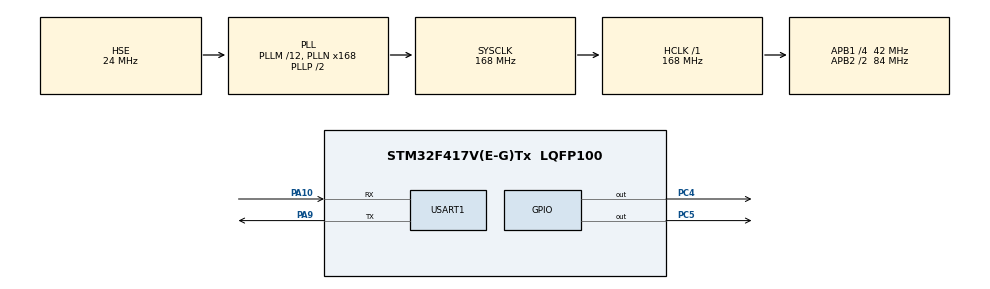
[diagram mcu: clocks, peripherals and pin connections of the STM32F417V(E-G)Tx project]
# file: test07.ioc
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FREERTOS.BinarySemaphores01=BinarySem,Dynamic,NULL
FREERTOS.CountingSemaphores01=CountingSem,5,Dynamic,NULL
FREERTOS.Tasks01=LEDTask,0,128,StartLEDTask,As weak,NULL,Dynamic,NULL,NULL;Receive,-3,128,ReceiveTask,Default,NULL,Dynamic,NULL,NULL;Send,-3,128,SendTask,Default,NULL,Dynamic,NULL,NULL
FREERTOS.configUSE_COUNTING_SEMAPHORES=1
FREERTOS.configUSE_NEWLIB_REENTRANT=1
Mcu.Family=STM32F4
Mcu.Name=STM32F417V(E-G)Tx
Mcu.Package=LQFP100
NVIC.PriorityGroup=NVIC_PRIORITYGROUP_4
NVIC.TIM1_UP_TIM10_IRQn=true\:15\:0\:false\:false\:true\:false\:false\:true\:true
NVIC.TimeBase=TIM1_UP_TIM10_IRQn
NVIC.TimeBaseIP=TIM1
NVIC.USART1_IRQn=true\:5\:0\:false\:false\:true\:true\:true\:true\:true
PA10.GPIO_ModeDefaultPP=GPIO_MODE_AF_PP
PA10.GPIO_PuPd=GPIO_PULLUP
PA10.GPIO_Speed=GPIO_SPEED_FREQ_HIGH
PA10.Mode=Asynchronous
PA10.Signal=USART1_RX
PA13.Mode=Trace_Synchro_2bits_JTAG
PA13.Signal=SYS_JTMS-SWDIO
PA14.Mode=Trace_Synchro_2bits_JTAG
PA14.Signal=SYS_JTCK-SWCLK
PA15.Mode=Trace_Synchro_2bits_JTAG
PA15.Signal=SYS_JTDI
PA9.GPIO_ModeDefaultPP=GPIO_MODE_AF_PP
PA9.GPIO_PuPd=GPIO_PULLUP
PA9.GPIO_Speed=GPIO_SPEED_FREQ_HIGH
PA9.Mode=Asynchronous
PA9.Signal=USART1_TX
PB3.Mode=Trace_Synchro_2bits_JTAG
PB3.Signal=SYS_JTDO-SWO
PC14-OSC32_IN.Mode=LSE-External-Oscillator
PC14-OSC32_IN.Signal=RCC_OSC32_IN
PC15-OSC32_OUT.Mode=LSE-External-Oscillator
PC15-OSC32_OUT.Signal=RCC_OSC32_OUT
PC4.GPIO_ModeDefaultOutputPP=GPIO_MODE_OUTPUT_PP
PC4.GPIO_PuPd=GPIO_PULLUP
PC4.GPIO_Speed=GPIO_SPEED_FREQ_HIGH
PC4.PinState=GPIO_PIN_SET
PC4.Signal=GPIO_Output
PC5.GPIO_ModeDefaultOutputPP=GPIO_MODE_OUTPUT_PP
PC5.GPIO_PuPd=GPIO_PULLUP
PC5.GPIO_Speed=GPIO_SPEED_FREQ_HIGH
PC5.PinState=GPIO_PIN_SET
PC5.Signal=GPIO_Output
PE2.Mode=Trace_Synchro_2bits_JTAG
PE2.Signal=SYS_TRACECLK
PE3.Mode=Trace_Synchro_2bits_JTAG
PE3.Signal=SYS_TRACED0
PE4.Mode=Trace_Synchro_2bits_JTAG
PE4.Signal=SYS_TRACED1
PH0-OSC_IN.Mode=HSE-External-Oscillator
PH0-OSC_IN.Signal=RCC_OSC_IN
PH1-OSC_OUT.Mode=HSE-External-Oscillator
PH1-OSC_OUT.Signal=RCC_OSC_OUT
ProjectManager.HeapSize=0x200
ProjectManager.StackSize=0x400
ProjectManager.TargetToolchain=STM32CubeIDE
RCC.48MHZClocksFreq_Value=84000000
RCC.AHBFreq_Value=168000000
RCC.APB1CLKDivider=RCC_HCLK_DIV4
RCC.APB1Freq_Value=42000000
RCC.APB1TimFreq_Value=84000000
RCC.APB2CLKDivider=RCC_HCLK_DIV2
RCC.APB2Freq_Value=84000000
RCC.APB2TimFreq_Value=168000000
RCC.CortexFreq_Value=168000000
RCC.HCLKFreq_Value=168000000
RCC.HSE_VALUE=24000000
RCC.HSI_VALUE=16000000
RCC.PLLM=12
RCC.PLLN=168
RCC.PLLSourceVirtual=RCC_PLLSOURCE_HSE
RCC.SYSCLKFreq_VALUE=168000000
RCC.SYSCLKSource=RCC_SYSCLKSOURCE_PLLCLK
RCC.VCOOutputFreq_Value=336000000
USART1.VirtualMode=VM_ASYNC
VP_FREERTOS_VS_CMSIS_V1.Mode=CMSIS_V1
VP_SYS_VS_tim1.Mode=TIM1
board=custom

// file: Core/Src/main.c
/* USER CODE BEGIN Header */
/**
  ******************************************************************************
  * @file           : main.c
  * @brief          : Main program body
  ******************************************************************************
  * @attention
  *
  * Copyright (c) 2022 STMicroelectronics.
  * All rights reserved.
  *
  * This software is licensed under terms that can be found in the LICENSE file
  * in the root directory of this software component.
  * If no LICENSE file comes with this software, it is provided AS-IS.
  *
  ******************************************************************************
  */
/* USER CODE END Header */
#include "main.h"
#include "cmsis_os.h"
#include "usart.h"
#include "gpio.h"

/* USER CODE BEGIN Includes */
#include "stdio.h"	//引用标准库文件
/* USER CODE END Includes */

void SystemClock_Config(void);
void MX_FREERTOS_Init(void);
/* USER CODE BEGIN PFP */
#ifdef __GNUC__
#define PUTCHAR_PROTOTYPE int __io_putchar(int ch)   //STM32CubeIDE
#else

#define PUTCHAR_PROTOTYPE int fputc(int ch, FILE *f)  //Keil

#endif
PUTCHAR_PROTOTYPE
{
	HAL_UART_Transmit(&huart1, (uint8_t*)&ch, 1, HAL_MAX_DELAY);
	return ch;
}

int _write(int file, char *ptr, int len)
{
	int DataIdx;

	for(DataIdx=0; DataIdx<len; DataIdx++)
	{
		__io_putchar(*ptr++);
	}

	return len;
}
/* USER CODE END PFP */

int main(void)
{

  /* MCU Configuration--------------------------------------------------------*/

  /* Reset of all peripherals, Initializes the Flash interface and the Systick. */
  HAL_Init();

  /* Configure the system clock */
  SystemClock_Config();

  /* Initialize all configured peripherals */
  MX_GPIO_Init();
  MX_USART1_UART_Init();

  /* Call init function for freertos objects (in freertos.c) */
  MX_FREERTOS_Init();

  /* Start scheduler */
  osKernelStart();

  /* We should never get here as control is now taken by the scheduler */
  /* Infinite loop */
  while (1)
  {

  }
}

void SystemClock_Config(void)
{
  RCC_OscInitTypeDef RCC_OscInitStruct = {0};
  RCC_ClkInitTypeDef RCC_ClkInitStruct = {0};

  /** Configure the main internal regulator output voltage
  */
  __HAL_RCC_PWR_CLK_ENABLE();
  __HAL_PWR_VOLTAGESCALING_CONFIG(PWR_REGULATOR_VOLTAGE_SCALE1);

  /** Initializes the RCC Oscillators according to the specified parameters
  * in the RCC_OscInitTypeDef structure.
  */
  RCC_OscInitStruct.OscillatorType = RCC_OSCILLATORTYPE_HSE;
  RCC_OscInitStruct.HSEState = RCC_HSE_ON;
  RCC_OscInitStruct.PLL.PLLState = RCC_PLL_ON;
  RCC_OscInitStruct.PLL.PLLSource = RCC_PLLSOURCE_HSE;
  RCC_OscInitStruct.PLL.PLLM = 12;
  RCC_OscInitStruct.PLL.PLLN = 168;
  RCC_OscInitStruct.PLL.PLLP = RCC_PLLP_DIV2;
  RCC_OscInitStruct.PLL.PLLQ = 4;
  if (HAL_RCC_OscConfig(&RCC_OscInitStruct) != HAL_OK)
  {
    Error_Handler();
  }

  /** Initializes the CPU, AHB and APB buses clocks
  */
  RCC_ClkInitStruct.ClockType = RCC_CLOCKTYPE_HCLK|RCC_CLOCKTYPE_SYSCLK
                              |RCC_CLOCKTYPE_PCLK1|RCC_CLOCKTYPE_PCLK2;
  RCC_ClkInitStruct.SYSCLKSource = RCC_SYSCLKSOURCE_PLLCLK;
  RCC_ClkInitStruct.AHBCLKDivider = RCC_SYSCLK_DIV1;
  RCC_ClkInitStruct.APB1CLKDivider = RCC_HCLK_DIV4;
  RCC_ClkInitStruct.APB2CLKDivider = RCC_HCLK_DIV2;

  if (HAL_RCC_ClockConfig(&RCC_ClkInitStruct, FLASH_LATENCY_5) != HAL_OK)
  {
    Error_Handler();
  }
}

void HAL_TIM_PeriodElapsedCallback(TIM_HandleTypeDef *htim)
{
  if (htim->Instance == TIM1) {
    HAL_IncTick();
  }
}

void Error_Handler(void)
{
  __disable_irq();
  while (1)
  {
  }
}

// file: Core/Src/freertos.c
/* USER CODE BEGIN Header */
/**
  ******************************************************************************
  * File Name          : freertos.c
  * Description        : Code for freertos applications
  ******************************************************************************
  * @attention
  *
  * Copyright (c) 2022 STMicroelectronics.
  * All rights reserved.
  *
  * This software is licensed under terms that can be found in the LICENSE file
  * in the root directory of this software component.
  * If no LICENSE file comes with this software, it is provided AS-IS.
  *
  ******************************************************************************
  */
/* USER CODE END Header */

#include "FreeRTOS.h"
#include "task.h"
#include "main.h"
#include "cmsis_os.h"

/* USER CODE BEGIN Includes */
#include <stdio.h>
/* USER CODE END Includes */

osThreadId LEDTaskHandle;
osThreadId ReceiveHandle;
osThreadId SendHandle;
osSemaphoreId BinarySemHandle;
osSemaphoreId CountingSemHandle;

void StartLEDTask(void const * argument);
void ReceiveTask(void const * argument);
void SendTask(void const * argument);

void MX_FREERTOS_Init(void); /* (MISRA C 2004 rule 8.1) */

/* GetIdleTaskMemory prototype (linked to static allocation support) */
void vApplicationGetIdleTaskMemory( StaticTask_t **ppxIdleTaskTCBBuffer, StackType_t **ppxIdleTaskStackBuffer, uint32_t *pulIdleTaskStackSize );

/* USER CODE BEGIN GET_IDLE_TASK_MEMORY */
static StaticTask_t xIdleTaskTCBBuffer;
static StackType_t xIdleStack[configMINIMAL_STACK_SIZE];

void vApplicationGetIdleTaskMemory( StaticTask_t **ppxIdleTaskTCBBuffer, StackType_t **ppxIdleTaskStackBuffer, uint32_t *pulIdleTaskStackSize )
{
  *ppxIdleTaskTCBBuffer = &xIdleTaskTCBBuffer;
  *ppxIdleTaskStackBuffer = &xIdleStack[0];
  *pulIdleTaskStackSize = configMINIMAL_STACK_SIZE;
  /* place for user code */
}
/* USER CODE END GET_IDLE_TASK_MEMORY */

void MX_FREERTOS_Init(void) {

  /* Create the semaphores(s) */
  /* definition and creation of BinarySem */
  osSemaphoreDef(BinarySem);
  BinarySemHandle = osSemaphoreCreate(osSemaphore(BinarySem), 1);

  /* definition and creation of CountingSem */
  osSemaphoreDef(CountingSem);
  CountingSemHandle = osSemaphoreCreate(osSemaphore(CountingSem), 5);

  /* Create the thread(s) */
  /* definition and creation of LEDTask */
  osThreadDef(LEDTask, StartLEDTask, osPriorityNormal, 0, 128);
  LEDTaskHandle = osThreadCreate(osThread(LEDTask), NULL);

  /* definition and creation of Receive */
  osThreadDef(Receive, ReceiveTask, osPriorityIdle, 0, 128);
  ReceiveHandle = osThreadCreate(osThread(Receive), NULL);

  /* definition and creation of Send */
  osThreadDef(Send, SendTask, osPriorityIdle, 0, 128);
  SendHandle = osThreadCreate(osThread(Send), NULL);

}

__weak void StartLEDTask(void const * argument)
{
  /* USER CODE BEGIN StartLEDTask */
  /* Infinite loop */
  for(;;)
  {
	//printf("LED Task!\r\n");
	HAL_GPIO_WritePin(GPIOC, GPIO_PIN_4, GPIO_PIN_RESET);
    osDelay(1000);
    HAL_GPIO_WritePin(GPIOC, GPIO_PIN_4, GPIO_PIN_SET);
    osDelay(1000);
  }
  /* USER CODE END StartLEDTask */
}

void ReceiveTask(void const * argument)
{
  /* USER CODE BEGIN ReceiveTask */
  osStatus xReturn = osErrorValue;  //定义一个创建信息返回值，默认为osErrorValue - value of a parameter is out of range.
  /* Infinite loop */
  for(;;)
  {
	  //二值信号量
	xReturn = osSemaphoreWait(BinarySemHandle, osWaitForever);
	if(osOK == xReturn)
	{
		printf("BinarySem get!\r\n");
	}

//	  //计数信号量
//	  xReturn = osSemaphoreWait(CountingSemHandle, 0);
//	  if(osOK == xReturn)
//	  {
//		  printf("Successfully applied for parking space.\r\n");
//	  }
//	  else
//	  {
//		  printf("Sorry, the parking lot is full now!\r\n");
//	  }

    osDelay(1000);
  }
  /* USER CODE END ReceiveTask */
}

void SendTask(void const * argument)
{
  /* USER CODE BEGIN SendTask */
  osStatus xReturn;
  uint8_t count=0;
  /* Infinite loop */
  for(;;)
  {
	if(count==10)
	{
		count = 0;
		//二值信号量
		xReturn = osSemaphoreRelease(BinarySemHandle);
		if(osOK == xReturn)
		{
			printf("Release!\r\n");
		}
		else
		{
			printf("BinarySem release failed!\r\n");
		}
//		//计数信号量
//		xReturn = osSemaphoreRelease(CountingSemHandle);
//		if(osOK == xReturn)
//		{
//			printf("Release 1 parking space!\r\n");
//		}
//		else
//		{
//			printf("There is no parking space to release!\r\n");
//		}
	}
	count++;
    osDelay(500);
  }
  /* USER CODE END SendTask */
}
